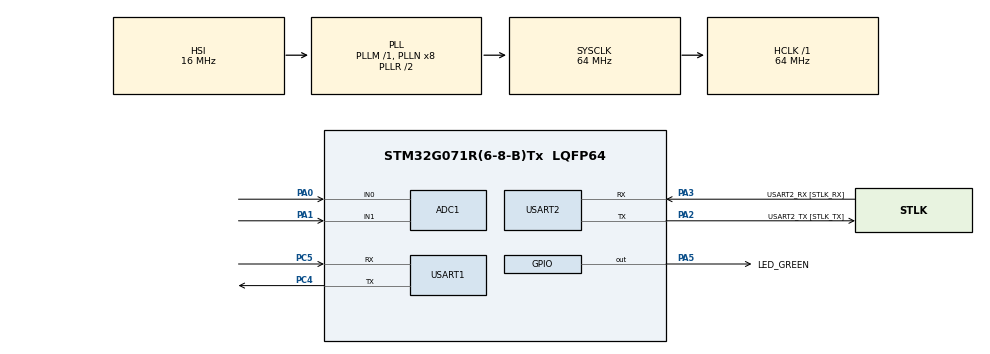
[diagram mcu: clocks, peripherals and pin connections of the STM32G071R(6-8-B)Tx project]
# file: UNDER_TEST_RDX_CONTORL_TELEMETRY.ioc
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ADC1.Channel-0\#ChannelRegularConversion=ADC_CHANNEL_0
ADC1.Channel-1\#ChannelRegularConversion=ADC_CHANNEL_1
ADC1.ClockPrescaler=ADC_CLOCK_SYNC_PCLK_DIV4
ADC1.NbrOfConversion=2
ADC1.NbrOfConversionFlag=1
ADC1.Rank-0\#ChannelRegularConversion=1
ADC1.Rank-1\#ChannelRegularConversion=2
ADC1.SamplingTime-0\#ChannelRegularConversion=ADC_SAMPLINGTIME_COMMON_1
ADC1.SamplingTime-1\#ChannelRegularConversion=ADC_SAMPLINGTIME_COMMON_1
ADC1.SamplingTimeCommon1=ADC_SAMPLETIME_160CYCLES_5
ADC1.SamplingTimeCommon2=ADC_SAMPLETIME_160CYCLES_5
ADC1.SelectedChannel=ADC_CHANNEL_0|ADC_CHANNEL_1
ADC1.master=1
Mcu.Family=STM32G0
Mcu.Name=STM32G071R(6-8-B)Tx
Mcu.Package=LQFP64
NVIC.ADC1_COMP_IRQn=true\:0\:0\:false\:false\:true\:true\:true\:true
NVIC.USART1_IRQn=true\:0\:0\:false\:false\:true\:true\:true\:true
PA0.Mode=IN0
PA0.Signal=ADC1_IN0
PA1.Mode=IN1
PA1.Signal=ADC1_IN1
PA13.GPIO_Label=TMS
PA13.Mode=Serial_Wire
PA13.Signal=SYS_SWDIO
PA14-BOOT0.GPIO_Label=TCK
PA14-BOOT0.Mode=Serial_Wire
PA14-BOOT0.Signal=SYS_SWCLK
PA2.GPIO_Label=USART2_TX [STLK_TX]
PA2.GPIO_PuPd=GPIO_PULLUP
PA2.Mode=Asynchronous
PA2.Signal=USART2_TX
PA3.GPIO_Label=USART2_RX [STLK_RX]
PA3.GPIO_PuPd=GPIO_PULLUP
PA3.Mode=Asynchronous
PA3.Signal=USART2_RX
PA5.GPIO_Label=LED_GREEN
PA5.GPIO_Speed=GPIO_SPEED_FREQ_HIGH
PA5.Signal=GPIO_Output
PC13.Mode=SYS_WakeUp1
PC13.Signal=SYS_WKUP2
PC14-OSC32_IN\ (PC14).Mode=LSE-External-Oscillator
PC14-OSC32_IN\ (PC14).Signal=RCC_OSC32_IN
PC15-OSC32_OUT\ (PC15).Mode=LSE-External-Oscillator
PC15-OSC32_OUT\ (PC15).Signal=RCC_OSC32_OUT
PC4.Mode=Asynchronous
PC4.Signal=USART1_TX
PC5.Mode=Asynchronous
PC5.Signal=USART1_RX
PF0-OSC_IN\ (PF0).GPIO_Label=MCO
PF0-OSC_IN\ (PF0).Mode=HSE-External-Clock-Source
PF0-OSC_IN\ (PF0).Signal=RCC_OSC_IN
ProjectManager.HeapSize=0x200
ProjectManager.StackSize=0x400
ProjectManager.TargetToolchain=CMake
RCC.ADCFreq_Value=64000000
RCC.AHBFreq_Value=64000000
RCC.CortexFreq_Value=64000000
RCC.EXTERNAL_CLOCK_VALUE=12288000
RCC.HCLKFreq_Value=64000000
RCC.HSE_VALUE=8000000
RCC.HSI_VALUE=16000000
RCC.SYSCLKFreq_VALUE=64000000
RCC.SYSCLKSource=RCC_SYSCLKSOURCE_PLLCLK
RCC.VCOOutputFreq_Value=128000000
USART1.VirtualMode-Asynchronous=VM_ASYNC
USART2.VirtualMode-Asynchronous=VM_ASYNC
board=NUCLEO-G071RB

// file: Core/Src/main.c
/* USER CODE BEGIN Header */
/**
 ******************************************************************************
 * @file           : main.c
 * @brief          : Main program body
 ******************************************************************************
 * @attention
 *
 * Copyright (c) 2026 STMicroelectronics.
 * All rights reserved.
 *
 * This software is licensed under terms that can be found in the LICENSE file
 * in the root directory of this software component.
 * If no LICENSE file comes with this software, it is provided AS-IS.
 *
 ******************************************************************************
 */
/* USER CODE END Header */
#include "main.h"
#include "adc.h"
#include "gpio.h"
#include "stm32g0xx_hal.h"
#include "stm32g0xx_hal_uart.h"
#include "usart.h"

/* USER CODE BEGIN Includes */
#include "toRaspy.h"
#include <stdio.h>

/* USER CODE END Includes */

/* USER CODE BEGIN PTD */
typedef struct {
  uint16_t rpm[4];
  uint32_t Postop;
  uint32_t Posbot;
  uint8_t Motor_states;
} packedToRaspy_t;

/* USER CODE END PTD */

/* USER CODE BEGIN PV */

uart_handle_t uart1_handle;
packedToRaspy_t dataToRaspy = {
    .Motor_states = 0,
    .Posbot = 0,
    .Postop = 0,
    .rpm = {0, 0, 0, 0},

};
/* USER CODE END PV */

void SystemClock_Config(void);
/* USER CODE BEGIN PFP */

void serializer(packedToRaspy_t *data, char *buffer);
/* USER CODE END PFP */

int main(void) {

  /* MCU Configuration--------------------------------------------------------*/

  /* Reset of all peripherals, Initializes the Flash interface and the Systick.
   */
  HAL_Init();

  /* Configure the system clock */
  SystemClock_Config();

  /* Initialize all configured peripherals */
  MX_GPIO_Init();
  MX_ADC1_Init();
  MX_USART1_UART_Init();
  MX_USART2_UART_Init();
  /* USER CODE BEGIN 2 */
  uart_init(&uart1_handle, &huart1);
  HAL_Delay(100); // Pequeña demora para asegurar que el UART esté listo
  uart_start_receive(&uart1_handle);

  /* USER CODE END 2 */
  char payload_buffer[128]; // Buffer temporal para la estructura pura

  /* Infinite loop */
  while (1) {

    serializer(&dataToRaspy, payload_buffer);
    uart_send(&uart1_handle, payload_buffer, sizeof(payload_buffer));
  }
}

void SystemClock_Config(void) {
  RCC_OscInitTypeDef RCC_OscInitStruct = {0};
  RCC_ClkInitTypeDef RCC_ClkInitStruct = {0};

  /** Configure the main internal regulator output voltage
   */
  HAL_PWREx_ControlVoltageScaling(PWR_REGULATOR_VOLTAGE_SCALE1);

  /** Initializes the RCC Oscillators according to the specified parameters
   * in the RCC_OscInitTypeDef structure.
   */
  RCC_OscInitStruct.OscillatorType = RCC_OSCILLATORTYPE_HSI;
  RCC_OscInitStruct.HSIState = RCC_HSI_ON;
  RCC_OscInitStruct.HSIDiv = RCC_HSI_DIV1;
  RCC_OscInitStruct.HSICalibrationValue = RCC_HSICALIBRATION_DEFAULT;
  RCC_OscInitStruct.PLL.PLLState = RCC_PLL_ON;
  RCC_OscInitStruct.PLL.PLLSource = RCC_PLLSOURCE_HSI;
  RCC_OscInitStruct.PLL.PLLM = RCC_PLLM_DIV1;
  RCC_OscInitStruct.PLL.PLLN = 8;
  RCC_OscInitStruct.PLL.PLLP = RCC_PLLP_DIV2;
  RCC_OscInitStruct.PLL.PLLQ = RCC_PLLQ_DIV2;
  RCC_OscInitStruct.PLL.PLLR = RCC_PLLR_DIV2;
  if (HAL_RCC_OscConfig(&RCC_OscInitStruct) != HAL_OK) {
    Error_Handler();
  }

  /** Initializes the CPU, AHB and APB buses clocks
   */
  RCC_ClkInitStruct.ClockType =
      RCC_CLOCKTYPE_HCLK | RCC_CLOCKTYPE_SYSCLK | RCC_CLOCKTYPE_PCLK1;
  RCC_ClkInitStruct.SYSCLKSource = RCC_SYSCLKSOURCE_PLLCLK;
  RCC_ClkInitStruct.AHBCLKDivider = RCC_SYSCLK_DIV1;
  RCC_ClkInitStruct.APB1CLKDivider = RCC_HCLK_DIV1;

  if (HAL_RCC_ClockConfig(&RCC_ClkInitStruct, FLASH_LATENCY_2) != HAL_OK) {
    Error_Handler();
  }
}

/* USER CODE BEGIN 4 */
void HAL_UART_TxCpltCallback(UART_HandleTypeDef *huart) {
  if (huart->Instance == USART1) {
    // Transmisión completa en USART1
    uart_tx_callback(&uart1_handle);
    // Aquí puedes agregar código para manejar el evento de transmisión completa
  }
}

void HAL_UART_RxCpltCallback(UART_HandleTypeDef *huart) {
  if (huart->Instance == USART1) {
    // Recepción completa en USART1
    uart_rx_callback(&uart1_handle, uart1_handle.rx_byte);

    uart_start_receive(
        &uart1_handle); // Reiniciar la recepción para el siguiente byte
  }
}
void serializer(packedToRaspy_t *data, char *buffer) {
  sprintf(
      buffer,
      " \"PDT\":\"%hu\",\r\n\"PIT\":\"%hu\",\r\n\"PDD\":\"%hu\","
      "\r\n\"PID\":\"%hu\",\r\n\"MTS\":\"%u\",\r\n\"MI1\":\"%u\",\r\n\"MI2\":"
      "\"%u\",\r\n\"MI3\":\"%u\",\r\n\"MI4\":\"%u\",",
      (data->Posbot & 0xFFFF), (data->Posbot >> 16), (data->Postop & 0xFFFF),
      (data->Postop >> 16), data->Motor_states, data->rpm[0], data->rpm[1],
      data->rpm[2], data->rpm[3]);
}
void Error_Handler(void) {
  __disable_irq();
  while (1) {
  }
}
#ifdef USE_FULL_ASSERT
/**
 * @brief  Reports the name of the source file and the source line number
 *         where the assert_param error has occurred.
 * @param  file: pointer to the source file name
 * @param  line: assert_param error line source number
 * @retval None
 */
void assert_failed(uint8_t *file, uint32_t line) {
  /* USER CODE BEGIN 6 */
  /* User can add his own implementation to report the file name and line
     number, ex: printf("Wrong parameters value: file %s on line %d\r\n", file,
     line) */
  /* USER CODE END 6 */
}
#endif /* USE_FULL_ASSERT */
